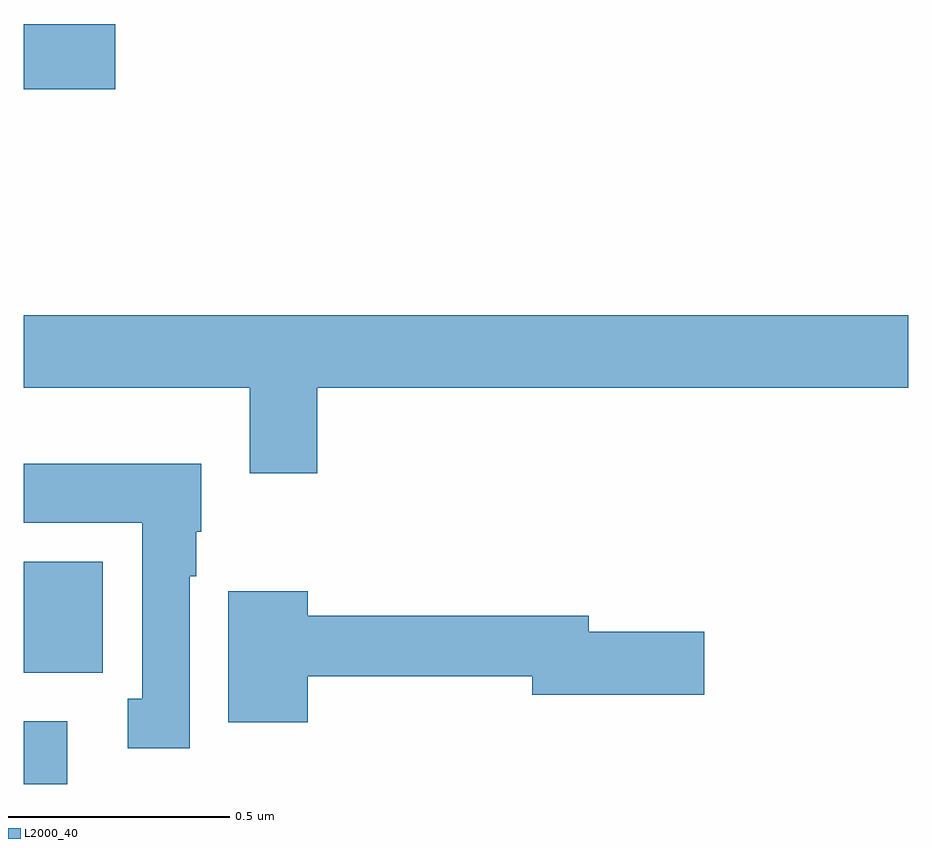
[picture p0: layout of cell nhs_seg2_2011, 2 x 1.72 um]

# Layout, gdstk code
import gdstk
lib = gdstk.Library(unit=1e-6, precision=1e-09)
def R(c, l, rs):  # rectangles x0, y0, x1, y1
    for r in rs: c.add(gdstk.rectangle(r[:2], r[2:], *l))
def P(c, l, *ps):  # polygons
    for p in ps: c.add(gdstk.Polygon(p, *l))
L2000_40 = (2000, 40)

nhs_seg2_2011 = lib.new_cell('nhs_seg2_2011')
R(nhs_seg2_2011, L2000_40, [(136,586.8,136.099,586.942), (136,587.052,136.179,587.302), (136,588.371,136.207,588.518)])
P(nhs_seg2_2011, L2000_40, [(136.664,587.696),(138,587.696),(138,587.86),(136,587.86),(136,587.696),(136.511,587.696),(136.511,587.502),(136.664,587.502)],
  [(136.375,587.27),(136.39,587.27),(136.39,587.37),(136.402,587.37),(136.402,587.524),(136,587.524),(136,587.39),(136.268,587.39),(136.268,586.993),(136.235,586.993),(136.235,586.881),(136.375,586.881)],
  [(136.642,587.044),(137.15,587.044),(137.15,587.002),(137.539,587.002),(137.539,587.144),(137.278,587.144),(137.278,587.18),(136.642,587.18),(136.642,587.236),(136.463,587.236),(136.463,586.94),(136.642,586.94)])

lib.write_gds('nhs_seg2_2011.gds')
